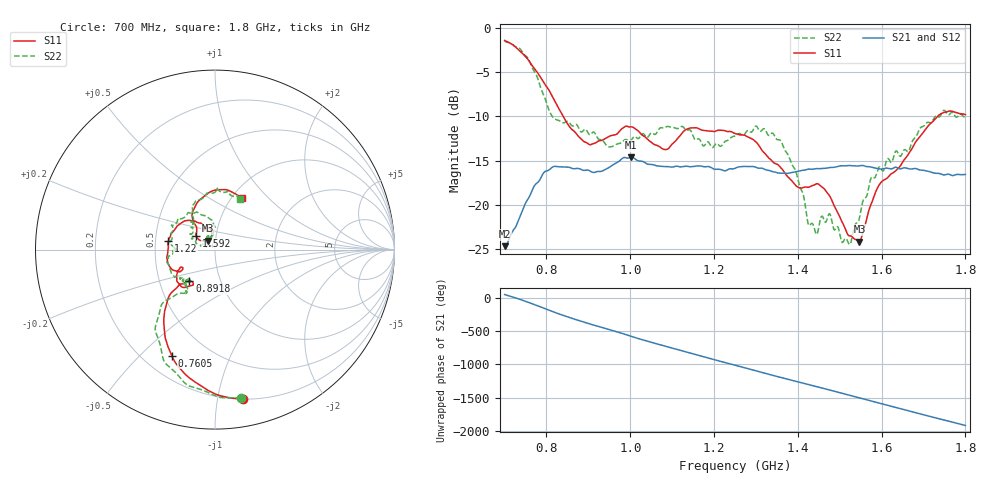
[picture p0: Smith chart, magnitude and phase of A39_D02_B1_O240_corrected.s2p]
! Created with skrf 1.9.0 (http://scikit-rf.org).
# Hz S RI R 50.0
!freq ReS11 ImS11 ReS21 ImS21 ReS12 ImS12 ReS22 ImS22
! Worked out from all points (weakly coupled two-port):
!   1601 points, 700 MHz to 1.8 GHz, reference 50 ohm
!   highest |S21| = -14.61 dB at 1.002 GHz (marker M1); lowest = -24.7 dB at 700.7 MHz (marker M2)
!   lowest |S11| = -24.1 dB at 1.547 GHz (marker M3), VSWR 1.13, Z = 46.1 + j4.54 ohm
!   |S11| at or under -10 dB: 839.7 MHz to 1.733 GHz (893.7 MHz wide, 69.5 % of centre)
!   |S22| runs from -24.5 to -1.5 dB; largest |S21 - S12| = 0.0035
!   S11 on the Smith chart (normalised r, x): 700 MHz: 0.20, -1.19; 760.5 MHz: 0.31, -0.62; 891.8 MHz: 0.71, -0.26; 1.22 GHz: 0.59, +0.06; 1.592 GHz: 0.80, +0.12; 1.8 GHz: 1.12, +0.71
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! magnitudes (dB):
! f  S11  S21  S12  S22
! 700 MHz  -1.4  -24.6  -24.4  -1.5
! 700.7 MHz  -1.4  -24.7  -24.3  -1.5
! 760.5 MHz  -3.9  -18.9  -18.8  -3.9
! 814.1 MHz  -7.8  -15.7  -15.8  -10.0
! 883.6 MHz  -12.6  -16.0  -15.9  -11.8
! 891.8 MHz  -12.9  -16.1  -16.1  -11.5
! 949.6 MHz  -12.2  -15.7  -15.8  -13.4
! 1.002 GHz  -11.2  -14.6  -14.7  -12.7
! 1.067 GHz  -13.3  -15.6  -15.5  -11.5
! 1.142 GHz  -11.3  -15.7  -15.6  -11.5
! 1.22 GHz  -11.6  -16.1  -16.1  -13.2
! 1.25 GHz  -11.9  -15.9  -15.8  -12.2
! 1.3 GHz  -12.9  -15.8  -15.7  -11.1
! 1.359 GHz  -15.8  -16.4  -16.4  -12.7
! 1.434 GHz  -17.8  -16.0  -15.9  -22.1
! 1.476 GHz  -18.9  -15.8  -15.8  -21.0
! 1.523 GHz  -23.5  -15.5  -15.5  -24.5
! 1.547 GHz  -24.1  -15.6  -15.6  -21.5
! 1.592 GHz  -17.9  -15.9  -15.9  -15.8
! 1.617 GHz  -16.8  -15.9  -15.8  -14.8
! 1.737 GHz  -9.8  -16.4  -16.5  -10.1
! 1.8 GHz  -9.8  -16.6  -16.5  -10.1
